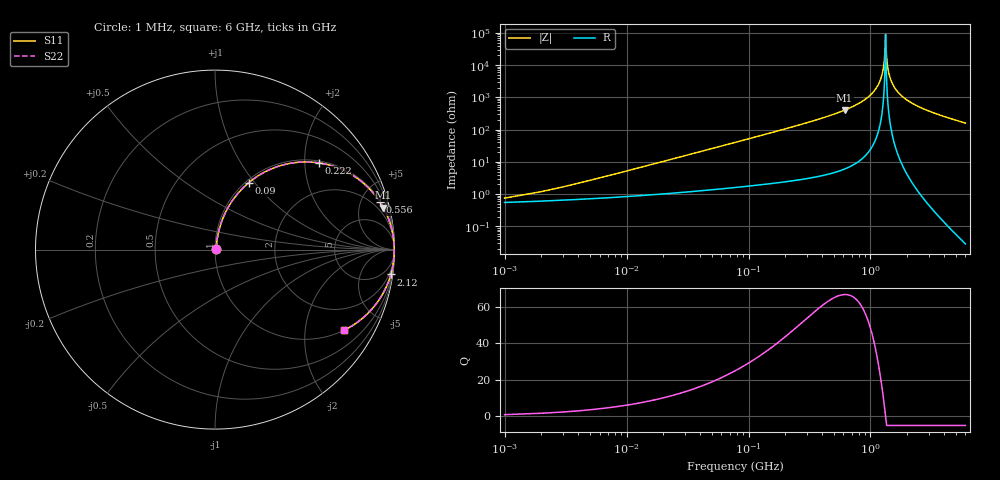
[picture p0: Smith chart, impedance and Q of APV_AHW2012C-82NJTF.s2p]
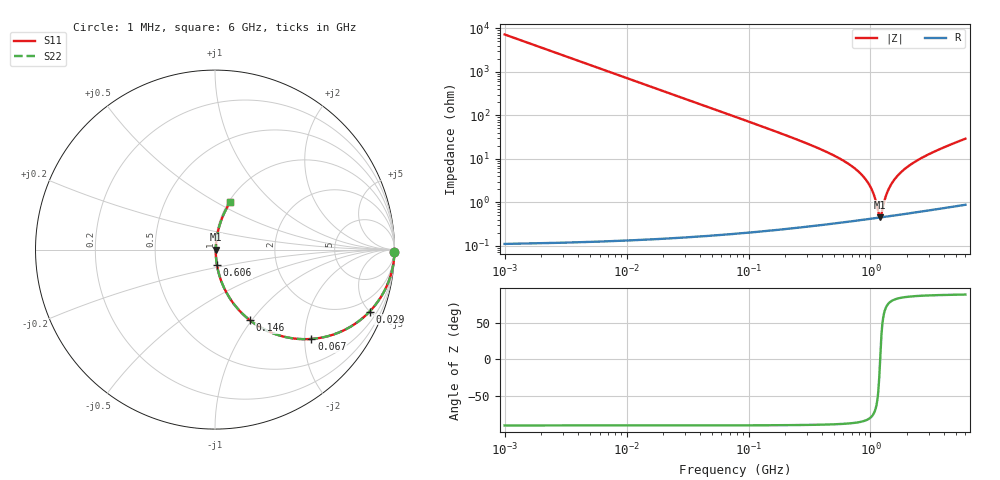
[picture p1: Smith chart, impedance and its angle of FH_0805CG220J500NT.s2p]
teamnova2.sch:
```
<Qucs Schematic 26.1.0>
<Properties>
  <View=45,-909,3166,684,1.21,605,920>
  <Grid=10,10,1>
  <DataSet=teamnova2.dat>
  <DataDisplay=teamnova2.dpl>
  <OpenDisplay=0>
  <Script=teamnova2.m>
  <RunScript=0>
  <showFrame=0>
  <FrameText0=Title>
  <FrameText1=Drawn By:>
  <FrameText2=Date:>
  <FrameText3=Revision:>
</Properties>
<Symbol>
</Symbol>
<Components>
  <SPfile X1 1 230 300 -26 -63 0 0 "APV_AHW2012C-82NJTF.s2p" 1 "rectangular" 0 "linear" 0 "open" 0 "2" 0>
  <GND * 1 230 330 0 0 0 0>
  <SPfile X2 1 400 170 -26 -63 0 0 "FH_0805CG220J500NT.s2p" 1 "rectangular" 0 "linear" 0 "open" 0 "2" 0>
  <SPfile X4 1 490 290 -26 -63 0 0 "APV_AHW2012C-82NJTF.s2p" 1 "rectangular" 0 "linear" 0 "open" 0 "2" 0>
  <SPfile X5 1 720 290 -26 -63 0 0 "APV_AHW2012C-68NJTF.s2p" 1 "rectangular" 0 "linear" 0 "open" 0 "2" 0>
  <SPfile X3 1 580 170 -26 -63 0 0 "FH_0805CG220J500NT.s2p" 1 "rectangular" 0 "linear" 0 "open" 0 "2" 0>
  <SPfile X8 1 1340 170 -26 -63 0 0 "FH_0805CG102J500NT.s2p" 1 "rectangular" 0 "linear" 0 "open" 0 "2" 0>
  <SPfile X9 1 1490 310 -26 -63 0 0 "FH_0805CG331J500NT.s2p" 1 "rectangular" 0 "linear" 0 "open" 0 "2" 0>
  <SPfile X10 1 1500 450 -26 -63 0 0 "APV_AHW2012C-R62JTF.s2p" 1 "rectangular" 0 "linear" 0 "open" 0 "2" 0>
  <SPfile X11 1 1500 580 -26 -63 0 0 "FH_RS-05K1500FT.s2p" 1 "rectangular" 0 "linear" 0 "open" 0 "2" 0>
  <GND * 1 480 320 0 0 0 0>
  <GND * 1 720 320 0 0 0 0>
  <GND * 1 580 200 0 0 0 0>
  <GND * 1 400 200 0 0 0 0>
  <GND * 1 880 200 0 0 0 0>
  <GND * 1 1090 200 0 0 0 0>
  <GND * 1 1340 200 0 0 0 0>
  <GND * 1 1490 340 0 0 0 0>
  <GND * 1 1500 480 0 0 0 0>
  <GND * 1 1500 610 0 0 0 0>
  <L L1 1 290 300 -26 10 0 0 "1 nH" 1 "" 0>
  <L L4 1 1580 670 10 -26 0 1 "1 nH" 1 "" 0>
  <GND * 1 320 300 0 0 0 0>
  <GND * 1 1580 700 0 0 0 0>
  <SPfile X12 1 1910 170 -26 -63 0 0 "C:/Users/ASUS/QucsWorkspace/TEAMNOVA_prj/PGA-103+_5V_Plus25DegC.s2p" 1 "rectangular" 0 "linear" 0 "open" 0 "2" 0>
  <GND * 1 1910 200 0 0 0 0>
  <SPfile X13 1 2040 -10 -26 -63 0 0 "APV_AHW2012C-R39JTF.s2p" 1 "rectangular" 0 "linear" 0 "open" 0 "2" 0>
  <L L5 1 1310 -160 10 -26 0 1 "1 nH" 1 "" 0>
  <GND * 1 1310 -130 0 0 0 0>
  <L L6 1 1530 -160 10 -26 0 1 "1 nH" 1 "" 0>
  <GND * 1 1530 -130 0 0 0 0>
  <L L7 1 1690 -160 10 -26 0 1 "1 nH" 1 "" 0>
  <GND * 1 1690 -130 0 0 0 0>
  <C C2 1 1560 -190 -26 17 0 0 "100 nF" 1 "" 0 "neutral" 0>
  <C C3 1 1720 -190 -26 17 0 0 "100 pF" 1 "" 0 "neutral" 0>
  <Vdc V1 1 2070 -320 18 -26 0 1 "5 V" 1>
  <GND * 1 2040 20 0 0 0 0>
  <SPfile X14 1 2020 170 -26 -63 0 0 "FH_0805CG102J500NT.s2p" 1 "rectangular" 0 "linear" 0 "open" 0 "2" 0>
  <GND * 1 2020 200 0 0 0 0>
  <SPfile X15 1 2100 250 -26 -63 0 0 "FH_0805CG100J500NT.s2p" 1 "rectangular" 0 "linear" 0 "open" 0 "2" 0>
  <SPfile X16 1 2480 250 -26 -63 0 0 "FH_0805CG180J500NT.s2p" 1 "rectangular" 0 "linear" 0 "open" 0 "2" 0>
  <SPfile X17 1 2870 250 -26 -63 0 0 "FH_0805CG100J500NT.s2p" 1 "rectangular" 0 "linear" 0 "open" 0 "2" 0>
  <SPfile X18 1 2250 170 -26 -63 0 0 "APV_AHW2012C-33NJTF.s2p" 1 "rectangular" 0 "linear" 0 "open" 0 "2" 0>
  <SPfile X19 1 2710 180 -26 -63 0 0 "APV_AHW2012C-33NJTF.s2p" 1 "rectangular" 0 "linear" 0 "open" 0 "2" 0>
  <GND * 1 2100 280 0 0 0 0>
  <GND * 1 2480 280 0 0 0 0>
  <GND * 1 2250 200 0 0 0 0>
  <GND * 1 2710 210 0 0 0 0>
  <GND * 1 2870 280 0 0 0 0>
  <L L8 1 2160 250 -26 10 0 0 "1 nH" 1 "" 0>
  <GND * 1 2190 250 0 0 0 0>
  <L L9 1 2540 250 -26 10 0 0 "1 nH" 1 "" 0>
  <GND * 1 2570 250 0 0 0 0>
  <L L10 1 2930 250 -26 10 0 0 "1 nH" 1 "" 0>
  <GND * 1 2960 250 0 0 0 0>
  <Pac P1 1 60 200 18 -26 0 1 "1" 1 "50 Ohm" 1 "0 dBm" 0 "1 MHz" 0 "26.85" 0 "true" 0>
  <Pac P2 1 3070 210 18 -26 0 1 "2" 1 "50 Ohm" 1 "0 dBm" 0 "1 MHz" 0 "26.85" 0 "true" 0>
  <GND * 1 3070 240 0 0 0 0>
  <GND * 1 60 230 0 0 0 0>
  <Eqn Eqn1 1 440 -50 -28 18 0 0 "dB11=dB(S[1,1])" 1 "dB21=dB(S[2,1])" 1 "yes" 0>
  <C C1 1 1340 -190 -26 17 0 0 "10 uF" 1 "" 0 "neutral" 0>
  <.SP SP1 1 260 -70 0 56 0 0 "lin" 1 "50 MHz" 1 "500 MHz" 1 "2000" 1 "no" 0 "1" 0 "2" 0 "no" 0 "no" 0>
  <GND * 1 780 320 0 0 0 0>
  <GND * 1 550 510 0 0 0 0>
  <L L11 1 840 290 -26 10 0 0 "1 nH" 1 "" 0>
  <GND * 1 870 290 0 0 0 0>
  <L L12 1 610 480 -26 10 0 0 "1 nH" 1 "" 0>
  <GND * 1 640 480 0 0 0 0>
  <SPfile X20 1 550 480 -26 -63 0 0 "FH_0805CG270J500NT.s2p" 1 "rectangular" 0 "linear" 0 "open" 0 "2" 0>
  <SPfile X21 1 780 290 -26 -63 0 0 "FH_0805CG470J500NT.s2p" 1 "rectangular" 0 "linear" 0 "open" 0 "2" 0>
  <SPfile X7 1 1090 170 -26 -63 0 0 "APV_AHW2012C-18NJTF.s2p" 1 "rectangular" 0 "linear" 0 "open" 0 "2" 0>
  <SPfile X6 1 880 170 -26 -63 0 0 "FH_0805CG101J500NT.s2p" 1 "rectangular" 0 "linear" 0 "open" 0 "2" 0>
</Components>
<Wires>
  <200 170 200 300 "" 0 0 0 "">
  <60 170 200 170 "" 0 0 0 "">
  <200 170 370 170 "" 0 0 0 "">
  <430 170 450 170 "" 0 0 0 "">
  <450 170 550 170 "" 0 0 0 "">
  <450 170 450 290 "" 0 0 0 "">
  <610 170 690 170 "" 0 0 0 "">
  <690 170 850 170 "" 0 0 0 "">
  <690 170 690 290 "" 0 0 0 "">
  <910 170 1060 170 "" 0 0 0 "">
  <1120 170 1310 170 "" 0 0 0 "">
  <1370 170 1460 170 "" 0 0 0 "">
  <1460 170 1460 310 "" 0 0 0 "">
  <1520 310 1540 310 "" 0 0 0 "">
  <1540 310 1540 390 "" 0 0 0 "">
  <1470 390 1540 390 "" 0 0 0 "">
  <1470 390 1470 450 "" 0 0 0 "">
  <1530 450 1550 450 "" 0 0 0 "">
  <1550 450 1550 530 "" 0 0 0 "">
  <1470 530 1550 530 "" 0 0 0 "">
  <1470 530 1470 580 "" 0 0 0 "">
  <1530 580 1580 580 "" 0 0 0 "">
  <1580 580 1580 640 "" 0 0 0 "">
  <1460 170 1880 170 "" 0 0 0 "">
  <1940 170 1990 170 "" 0 0 0 "">
  <1990 -10 1990 170 "" 0 0 0 "">
  <1990 -10 2010 -10 "" 0 0 0 "">
  <2070 -290 2070 -10 "" 0 0 0 "">
  <1780 -290 2070 -290 "" 0 0 0 "">
  <1370 -290 1370 -190 "" 0 0 0 "">
  <1590 -190 1600 -190 "" 0 0 0 "">
  <1370 -290 1600 -290 "" 0 0 0 "">
  <1600 -290 1600 -190 "" 0 0 0 "">
  <1750 -190 1780 -190 "" 0 0 0 "">
  <1600 -290 1780 -290 "" 0 0 0 "">
  <1780 -290 1780 -190 "" 0 0 0 "">
  <2050 170 2070 170 "" 0 0 0 "">
  <2070 170 2220 170 "" 0 0 0 "">
  <2070 170 2070 250 "" 0 0 0 "">
  <2280 170 2450 170 "" 0 0 0 "">
  <2680 170 2680 180 "" 0 0 0 "">
  <2450 170 2680 170 "" 0 0 0 "">
  <2450 170 2450 250 "" 0 0 0 "">
  <2740 180 2840 180 "" 0 0 0 "">
  <2840 180 3070 180 "" 0 0 0 "">
  <2840 180 2840 250 "" 0 0 0 "">
  <450 290 460 290 "" 0 0 0 "">
  <480 320 490 320 "" 0 0 0 "">
  <520 290 520 480 "" 0 0 0 "">
</Wires>
<Diagrams>
</Diagrams>
<Paintings>
</Paintings>
```
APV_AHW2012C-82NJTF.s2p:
! APV AHW2012C-82NJTF 82 nH 0805 wire-wound (L2 L3)
! Lumped model fitted to APV datasheet: Q=65@500MHz, SRF=1330MHz, DCR=0.42 ohm
! Model: (L + DCR + k*sqrt(f)) || Cp ; L=8.2e-08 H, Cp=1.75e-13 F, k=0.000133
! Generated by make_s2p.py - an estimate, not a measurement
! Series-thru 2-port: part connected between port 1 and port 2.
# Hz S RI R 50
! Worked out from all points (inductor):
!   1500 points, 1 MHz to 6 GHz, reference 50 ohm
!   read as one part in series: L = 82 nH near 8 MHz
!   highest Q = 66.8 at 613 MHz (marker M1), where L = 104 nH
!   self-resonance near 1.32 GHz
!   S11 on the Smith chart (normalised r, x): 1 MHz: 1.01, +0.01; 90 MHz: 1.03, +0.93; 222 MHz: 1.05, +2.35; 556 MHz: 1.10, +6.94; 2.12 GHz: 1, -14; 6 GHz: 1.00, -3.19
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1000000  0.00553 0.0051  0.9945 -0.0051  0.9945 -0.0051  0.00553 0.0051
7.8e7  0.1498 0.3374  0.8502 -0.3374  0.8502 -0.3374  0.1498 0.3374
9e7  0.1872 0.3723  0.8128 -0.3723  0.8128 -0.3723  0.1872 0.3723
2.22e8  0.579 0.483  0.421 -0.483  0.421 -0.483  0.579 0.483
5.56e8  0.92 0.2638  0.08 -0.2638  0.08 -0.2638  0.92 0.2638
6.13e8  0.9384 0.2331  0.0616 -0.2331  0.0616 -0.2331  0.9384 0.2331
1.07e9  0.9944 0.0635  0.00563 -0.0635  0.00563 -0.0635  0.9944 0.0635
1.33e9  0.9989 -8.66e-06  0.00112 8.66e-06  0.00112 8.66e-06  0.9989 -8.66e-06
1.56e9  0.9969 -0.0466  0.00306 0.0466  0.00306 0.0466  0.9969 -0.0466
2.12e9  0.98 -0.1382  0.02 0.1382  0.02 0.1382  0.98 -0.1382
6e9  0.7184 -0.4497  0.2816 0.4497  0.2816 0.4497  0.7184 -0.4497
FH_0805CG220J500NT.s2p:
! FH 0805CG220J500NT 22 pF 0805 C0G (C1 C2)
! FH publishes no RF data: typical 0805 C0G model, ESL=0.8 nH, ESR=0.10+0.10*sqrt(f/100MHz) ohm
! Generated by make_s2p.py - an estimate, not a measurement
! Series-thru 2-port: part connected between port 1 and port 2.
# Hz S RI R 50
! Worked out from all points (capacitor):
!   1500 points, 1 MHz to 6 GHz, reference 50 ohm
!   read as one part in series: C = 22 pF near 8 MHz
!   lowest |Z| = 446 mohm at 1.2 GHz (marker M1)
!   series resonance near 1.2 GHz, so ESL is about 800 pH
!   S11 on the Smith chart (normalised r, x): 1 MHz: open; 29 MHz: 1.00, -4.99; 67 MHz: 1.00, -2.15; 146 MHz: 1.00, -0.98; 606 MHz: 1.01, -0.18; 6 GHz: 1.02, +0.58
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1000000  0.9998 -0.0138  0.000191 0.0138  0.000191 0.0138  0.9998 -0.0138
5000000  0.9952 -0.0688  0.00476 0.0688  0.00476 0.0688  0.9952 -0.0688
2.9e7  0.8613 -0.3454  0.1387 0.3454  0.1387 0.3454  0.8613 -0.3454
6.7e7  0.5367 -0.4978  0.4633 0.4978  0.4633 0.4978  0.5367 -0.4978
7.8e7  0.4604 -0.4974  0.5396 0.4974  0.5396 0.4974  0.4604 -0.4974
1.46e8  0.1935 -0.3928  0.8065 0.3928  0.8065 0.3928  0.1935 -0.3928
6.06e8  0.0112 -0.0876  0.9888 0.0876  0.9888 0.0876  0.0112 -0.0876
9.31e8  0.00498 -0.0306  0.995 0.0306  0.995 0.0306  0.00498 -0.0306
1.2e9  0.00444 3.23e-05  0.9956 -3.23e-05  0.9956 -3.23e-05  0.00444 3.23e-05
1.87e9  0.0083 0.0546  0.9917 -0.0546  0.9917 -0.0546  0.0083 0.0546
6e9  0.0841 0.2629  0.9159 -0.2629  0.9159 -0.2629  0.0841 0.2629
